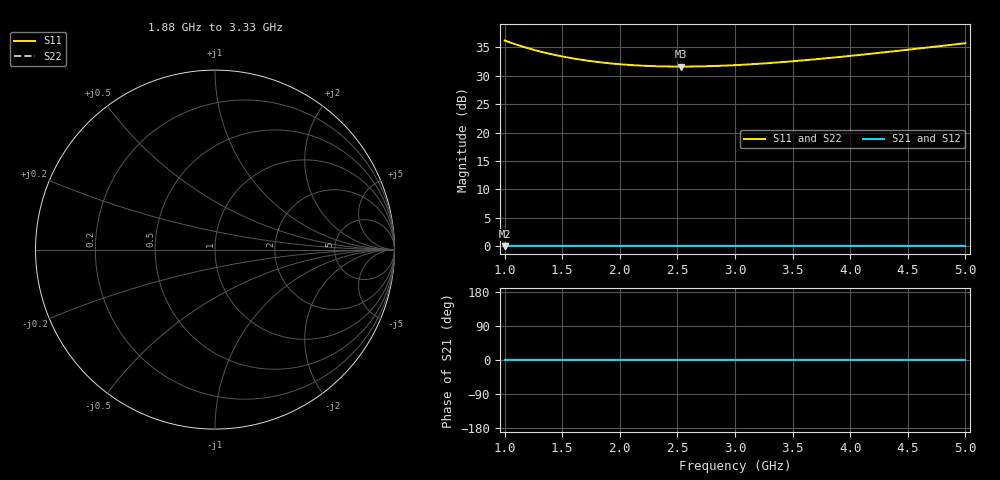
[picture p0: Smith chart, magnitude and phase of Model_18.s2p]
# GHZ S RI R 50
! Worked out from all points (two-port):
!   401 points, 1 GHz to 5 GHz, reference 50 ohm
!   highest |S21| = 0.00 dB at 1 GHz (marker M1); lowest = 0.0 dB at 1 GHz (marker M2)
!   |S21| within 3 dB of the highest: start of sweep to end of sweep
!   lowest |S11| = 31.6 dB at 2.53 GHz (marker M3)
!   |S11| at or under -10 dB: nowhere
!   |S22| runs from 31.6 to 36.2 dB; largest |S21 - S12| = 0
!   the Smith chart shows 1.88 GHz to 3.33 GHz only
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1  64.68 0  1 0  1 0  64.68 0
1.02  63.56 0  1 0  1 0  63.56 0
1.15  57.36 0  1 0  1 0  57.36 0
1.22  54.64 0  1 0  1 0  54.64 0
1.3  51.95 0  1 0  1 0  51.95 0
1.38  49.64 0  1 0  1 0  49.64 0
1.47  47.43 0  1 0  1 0  47.43 0
1.57  45.37 0  1 0  1 0  45.37 0
1.67  43.66 0  1 0  1 0  43.66 0
1.82  41.65 0  1 0  1 0  41.65 0
1.98  40.09 0  1 0  1 0  40.09 0
2.15  38.98 0  1 0  1 0  38.98 0
2.34  38.29 0  1 0  1 0  38.29 0
2.53  38.08 0  1 0  1 0  38.08 0
2.76  38.36 0  1 0  1 0  38.36 0
3  39.2 0  1 0  1 0  39.2 0
3.33  41.11 0  1 0  1 0  41.11 0
3.67  43.89 0  1 0  1 0  43.89 0
4  47.28 0  1 0  1 0  47.28 0
4.34  51.42 0  1 0  1 0  51.42 0
4.64  55.57 0  1 0  1 0  55.57 0
5  61.15 0  1 0  1 0  61.15 0
